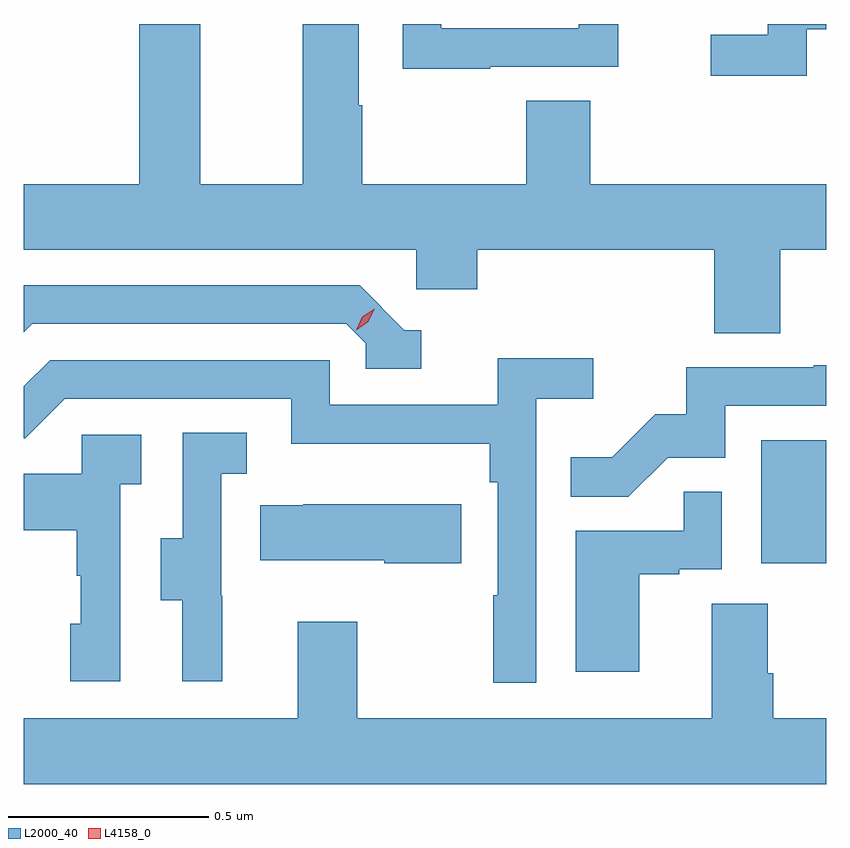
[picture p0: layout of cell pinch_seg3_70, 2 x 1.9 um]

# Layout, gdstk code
import gdstk
lib = gdstk.Library(unit=1e-6, precision=1e-09)
def R(c, l, rs):  # rectangles x0, y0, x1, y1
    for r in rs: c.add(gdstk.rectangle(r[:2], r[2:], *l))
def P(c, l, *ps):  # polygons
    for p in ps: c.add(gdstk.Polygon(p, *l))
L2000_40 = (2000, 40)
L4158_0 = (4158, 0)

pinch_seg3_70 = lib.new_cell('pinch_seg3_70')
R(pinch_seg3_70, L2000_40, [(1046.702,745.422,1046.864,745.729)])
P(pinch_seg3_70, L2000_40, [(1046.027,746.661),(1046.346,746.661),(1046.346,746.767),(1046.247,746.767),(1046.247,746.757),(1045.905,746.757),(1045.905,746.767),(1045.809,746.767),(1045.809,746.656),(1046.027,746.656)],
  [(1046.75,746.204),(1046.864,746.204),(1046.864,746.368),(1046.276,746.368),(1046.276,746.576),(1046.116,746.576),(1046.116,746.368),(1045.707,746.368),(1045.707,746.564),(1045.699,746.564),(1045.699,746.767),(1045.559,746.767),(1045.559,746.368),(1045.303,746.368),(1045.303,746.767),(1045.151,746.767),(1045.151,746.368),(1044.864,746.368),(1044.864,746.204),(1045.842,746.204),(1045.842,746.106),(1045.994,746.106),(1045.994,746.204),(1046.585,746.204),(1046.585,745.996),(1046.75,745.996)],
  [(1046.816,746.754),(1046.864,746.754),(1046.864,746.767),(1046.718,746.767),(1046.718,746.74),(1046.577,746.74),(1046.577,746.638),(1046.816,746.638)],
  [(1045.855,746.004),(1045.812,746.004),(1045.701,746.115),(1044.864,746.115),(1044.864,745.998),(1044.885,746.019),(1045.668,746.019),(1045.716,745.971),(1045.716,745.908),(1045.855,745.908)],
  [(1046.142,745.832),(1046.284,745.832),(1046.284,745.934),(1046.045,745.934),(1046.045,745.818),(1045.626,745.818),(1045.626,745.929),(1044.929,745.929),(1044.864,745.864),(1044.864,745.734),(1044.867,745.734),(1044.966,745.833),(1045.53,745.833),(1045.53,745.721),(1046.026,745.721),(1046.026,745.625),(1046.046,745.625),(1046.046,745.343),(1046.034,745.343),(1046.034,745.125),(1046.142,745.125)],
  [(1046.469,745.686),(1046.613,745.686),(1046.613,745.815),(1046.864,745.815),(1046.864,745.916),(1046.833,745.916),(1046.833,745.911),(1046.515,745.911),(1046.515,745.794),(1046.438,745.794),(1046.331,745.687),(1046.227,745.687),(1046.227,745.588),(1046.371,745.588)],
  [(1045.358,745.341),(1045.356,745.341),(1045.356,745.645),(1045.42,745.645),(1045.42,745.748),(1045.26,745.748),(1045.26,745.485),(1045.205,745.485),(1045.205,745.33),(1045.259,745.33),(1045.259,745.128),(1045.358,745.128)],
  [(1045.104,745.619),(1045.156,745.619),(1045.156,745.743),(1045.008,745.743),(1045.008,745.645),(1044.864,745.645),(1044.864,745.505),(1044.996,745.505),(1044.996,745.391),(1045.006,745.391),(1045.006,745.272),(1044.98,745.272),(1044.98,745.128),(1045.104,745.128)],
  [(1046.398,745.395),(1046.498,745.395),(1046.498,745.407),(1046.604,745.407),(1046.604,745.601),(1046.509,745.601),(1046.509,745.503),(1046.24,745.503),(1046.24,745.152),(1046.398,745.152)],
  [(1045.954,745.57),(1045.561,745.57),(1045.561,745.567),(1045.453,745.567),(1045.453,745.43),(1045.763,745.43),(1045.763,745.423),(1045.954,745.423)],
  [(1046.864,745.036),(1046.732,745.036),(1046.732,745.148),(1046.719,745.148),(1046.719,745.322),(1046.579,745.322),(1046.579,745.036),(1045.695,745.036),(1045.695,745.276),(1045.547,745.276),(1045.547,745.036),(1044.864,745.036),(1044.864,744.872),(1046.864,744.872)])
P(pinch_seg3_70, L4158_0, [(1045.692,746.004),(1045.692,746.004),(1045.708,746.037),(1045.739,746.057),(1045.739,746.057),(1045.739,746.057),(1045.723,746.024),(1045.693,746.004)])

lib.write_gds('pinch_seg3_70.gds')
